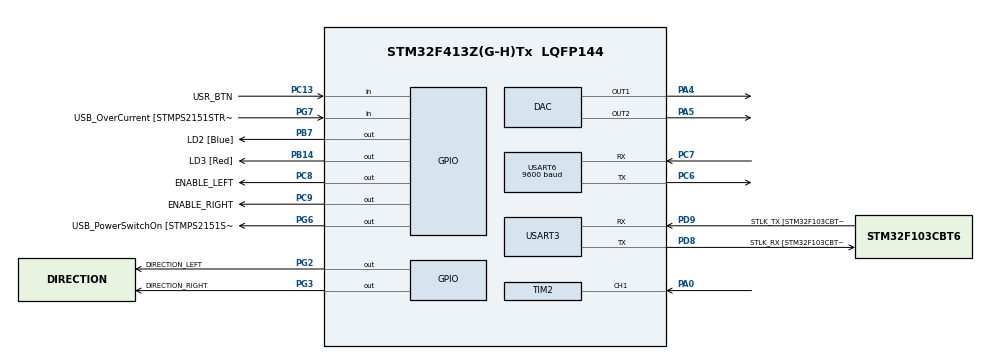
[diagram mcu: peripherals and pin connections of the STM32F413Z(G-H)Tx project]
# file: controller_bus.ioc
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Mcu.Family=STM32F4
Mcu.Name=STM32F413Z(G-H)Tx
Mcu.Package=LQFP144
NVIC.PriorityGroup=NVIC_PRIORITYGROUP_4
NVIC.TIM2_IRQn=true\:0\:0\:false\:false\:true\:true
NVIC.USART6_IRQn=true\:0\:0\:false\:false\:true\:true
PA0.Signal=S_TIM2_CH1_ETR
PA10.GPIO_Label=USB_ID
PA10.Signal=USB_OTG_FS_ID
PA11.GPIO_Label=USB_DM
PA11.Signal=USB_OTG_FS_DM
PA12.GPIO_Label=USB_DP
PA12.Signal=USB_OTG_FS_DP
PA13.GPIO_Label=TMS
PA13.Mode=Serial_Wire
PA13.Signal=SYS_JTMS-SWDIO
PA14.GPIO_Label=TCK
PA14.Mode=Serial_Wire
PA14.Signal=SYS_JTCK-SWCLK
PA4.Signal=COMP_DAC1_group
PA5.Signal=COMP_DAC2_group
PA8.GPIO_Label=USB_SOF [TP1]
PA8.Signal=USB_OTG_FS_SOF
PA9.GPIO_Label=USB_VBUS
PA9.Signal=USB_OTG_FS_VBUS
PB14.GPIO_Label=LD3 [Red]
PB14.Signal=GPIO_Output
PB3.GPIO_Label=SWO
PB3.Signal=SYS_JTDO-SWO
PB7.GPIO_Label=LD2 [Blue]
PB7.Signal=GPIO_Output
PC13.GPIO_Label=USR_BTN
PC13.GPIO_PuPd=GPIO_PULLUP
PC13.Signal=GPIO_Input
PC14-OSC32_IN.Mode=LSE-External-Oscillator
PC14-OSC32_IN.Signal=RCC_OSC32_IN
PC15-OSC32_OUT.Mode=LSE-External-Oscillator
PC15-OSC32_OUT.Signal=RCC_OSC32_OUT
PC6.Mode=Asynchronous
PC6.Signal=USART6_TX
PC7.Mode=Asynchronous
PC7.Signal=USART6_RX
PC8.GPIO_Label=ENABLE_LEFT
PC8.GPIO_PuPd=GPIO_PULLUP
PC8.GPIO_Speed=GPIO_SPEED_FREQ_MEDIUM
PC8.Signal=GPIO_Output
PC9.GPIO_Label=ENABLE_RIGHT
PC9.GPIO_PuPd=GPIO_PULLUP
PC9.GPIO_Speed=GPIO_SPEED_FREQ_MEDIUM
PC9.Signal=GPIO_Output
PD8.GPIO_Label=STLK_RX [STM32F103CBT6_PA3]
PD8.Mode=Asynchronous
PD8.Signal=USART3_TX
PD9.GPIO_Label=STLK_TX [STM32F103CBT6_PA2]
PD9.Mode=Asynchronous
PD9.Signal=USART3_RX
PG2.GPIO_Label=DIRECTION_LEFT
PG2.GPIO_PuPd=GPIO_PULLUP
PG2.GPIO_Speed=GPIO_SPEED_FREQ_MEDIUM
PG2.Signal=GPIO_Output
PG3.GPIO_Label=DIRECTION_RIGHT
PG3.GPIO_PuPd=GPIO_PULLUP
PG3.GPIO_Speed=GPIO_SPEED_FREQ_MEDIUM
PG3.Signal=GPIO_Output
PG6.GPIO_Label=USB_PowerSwitchOn [STMPS2151STR_EN]
PG6.Signal=GPIO_Output
PG7.GPIO_Label=USB_OverCurrent [STMPS2151STR_FAULT]
PG7.Signal=GPIO_Input
PH0\ -\ OSC_IN.GPIO_Label=MCO
PH0\ -\ OSC_IN.Mode=HSE-External-Clock-Source
PH0\ -\ OSC_IN.Signal=RCC_OSC_IN
PH1\ -\ OSC_OUT.Mode=HSE-External-Clock-Source
PH1\ -\ OSC_OUT.Signal=RCC_OSC_OUT
ProjectManager.HeapSize=0x200
ProjectManager.StackSize=0x400
ProjectManager.TargetToolchain=TrueSTUDIO
RCC.48MHZClocksFreq_Value=24000000
RCC.AHBFreq_Value=96000000
RCC.APB1CLKDivider=RCC_HCLK_DIV2
RCC.APB1Freq_Value=48000000
RCC.APB1TimFreq_Value=96000000
RCC.APB2Freq_Value=96000000
RCC.APB2TimFreq_Value=96000000
RCC.CortexFreq_Value=96000000
RCC.HCLKFreq_Value=96000000
RCC.HSE_VALUE=8000000
RCC.HSI_VALUE=16000000
RCC.PLLM=8
RCC.PLLMUL=RCC_PLL_MUL9
RCC.PLLN=384
RCC.PLLP=RCC_PLLP_DIV4
RCC.PLLQ=8
RCC.PLLSourceVirtual=RCC_PLLSOURCE_HSE
RCC.PRESCALERUSB=RCC_USBCLKSOURCE_PLL_DIV1_5
RCC.SYSCLKFreq_VALUE=96000000
RCC.SYSCLKSource=RCC_SYSCLKSOURCE_PLLCLK
RCC.SYSCLKSourceVirtual=RCC_SYSCLKSOURCE_PLLCLK
RCC.USBFreq_Value=48000000
RCC.VCOOutputFreq_Value=384000000
SH.COMP_DAC1_group.0=DAC_OUT1,DAC_OUT1
SH.COMP_DAC2_group.0=DAC_OUT2,DAC_OUT2
SH.S_TIM2_CH1_ETR.0=TIM2_CH1,PWM_Input_1
TIM2.Period=0xffffffff
TIM2.Prescaler=96
USART3.VirtualMode=VM_ASYNC
USART6.BaudRate=9600
USART6.VirtualMode=VM_ASYNC
VP_TIM2_VS_ClockSourceINT.Mode=Internal
board=NUCLEO-F413ZH

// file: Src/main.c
/* USER CODE BEGIN Header */
/**
 ******************************************************************************
 * @file           : main.c
 * @brief          : Main program body
 ******************************************************************************
 ** This notice applies to any and all portions of this file
 * that are not between comment pairs USER CODE BEGIN and
 * USER CODE END. Other portions of this file, whether
 * inserted by the user or by software development tools
 * are owned by their respective copyright owners.
 *
 * COPYRIGHT(c) 2018 STMicroelectronics
 *
 * Redistribution and use in source and binary forms, with or without modification,
 * are permitted provided that the following conditions are met:
 *   1. Redistributions of source code must retain the above copyright notice,
 *      this list of conditions and the following disclaimer.
 *   2. Redistributions in binary form must reproduce the above copyright notice,
 *      this list of conditions and the following disclaimer in the documentation
 *      and/or other materials provided with the distribution.
 *   3. Neither the name of STMicroelectronics nor the names of its contributors
 *      may be used to endorse or promote products derived from this software
 *      without specific prior written permission.
 *
 * THIS SOFTWARE IS PROVIDED BY THE COPYRIGHT HOLDERS AND CONTRIBUTORS "AS IS"
 * AND ANY EXPRESS OR IMPLIED WARRANTIES, INCLUDING, BUT NOT LIMITED TO, THE
 * IMPLIED WARRANTIES OF MERCHANTABILITY AND FITNESS FOR A PARTICULAR PURPOSE ARE
 * DISCLAIMED. IN NO EVENT SHALL THE COPYRIGHT HOLDER OR CONTRIBUTORS BE LIABLE
 * FOR ANY DIRECT, INDIRECT, INCIDENTAL, SPECIAL, EXEMPLARY, OR CONSEQUENTIAL
 * DAMAGES (INCLUDING, BUT NOT LIMITED TO, PROCUREMENT OF SUBSTITUTE GOODS OR
 * SERVICES; LOSS OF USE, DATA, OR PROFITS; OR BUSINESS INTERRUPTION) HOWEVER
 * CAUSED AND ON ANY THEORY OF LIABILITY, WHETHER IN CONTRACT, STRICT LIABILITY,
 * OR TORT (INCLUDING NEGLIGENCE OR OTHERWISE) ARISING IN ANY WAY OUT OF THE USE
 * OF THIS SOFTWARE, EVEN IF ADVISED OF THE POSSIBILITY OF SUCH DAMAGE.
 *
 ******************************************************************************
 */
/* USER CODE END Header */

#include "main.h"

/* USER CODE BEGIN Includes */
#include <stdio.h>
#include <string.h>
#include <stdlib.h>
/* USER CODE END Includes */

void SystemClock_Config(void);
static void MX_GPIO_Init(void);
static void MX_USART3_UART_Init(void);
static void MX_DAC_Init(void);
static void MX_USART6_UART_Init(void);
static void MX_TIM2_Init(void);

/* USER CODE BEGIN 0 */
void messageHandler(char* buffer)
{
	printf("BUFFER: %s\n", buffer);
	if (buffer[0] == 'F')
	{
		if (buffer[1] == 'L')
		{
			printf("Received message: %s\n", buffer);
			char *fr_position = strstr(buffer, "FR");
			if (fr_position)
			{
				char right[10] = { 0 };
				strncpy(right, fr_position + 2, strlen(buffer) - 1);
				uint16_t right_speed = atoi(right);
				char left[10] = { 0 };
				strncpy(left, buffer + 2, strlen(buffer) - strlen(fr_position));
				uint16_t left_speed = atoi(left);
				if (left_speed > 500 && right_speed > 500)
				{
					LL_GPIO_SetOutputPin(DIRECTION_LEFT_GPIO_Port,
					DIRECTION_LEFT_Pin);
					LL_GPIO_ResetOutputPin(DIRECTION_RIGHT_GPIO_Port,
					DIRECTION_RIGHT_Pin);

					LL_GPIO_SetOutputPin(ENABLE_LEFT_GPIO_Port,
					ENABLE_LEFT_Pin);
					LL_GPIO_SetOutputPin(ENABLE_RIGHT_GPIO_Port,
					ENABLE_RIGHT_Pin);

					LL_DAC_ConvertDualData12RightAligned(DAC, LL_DAC_CHANNEL_1,
							4095 - right_speed);
					LL_DAC_ConvertDualData12RightAligned(DAC, LL_DAC_CHANNEL_2,
							left_speed);
				}
				else
				{
					LL_GPIO_ResetOutputPin(ENABLE_LEFT_GPIO_Port,
					ENABLE_LEFT_Pin);
					LL_GPIO_ResetOutputPin(ENABLE_RIGHT_GPIO_Port,
					ENABLE_RIGHT_Pin);
				}
			}
		}
	}
	else if (buffer[0] == 'R')
	{
		if (buffer[1] == 'L')
		{
			char *fr_position = strstr(buffer, "RR");
			if (fr_position)
			{
				char right[10] = { 0 };
				strncpy(right, fr_position + 2, strlen(buffer) - 1);
				uint16_t right_speed = atoi(right);
				char left[10] = { 0 };
				strncpy(left, buffer + 2, strlen(buffer) - strlen(fr_position));
				uint16_t left_speed = atoi(left);
				if (left_speed > 500 && right_speed > 500)
				{
					LL_GPIO_ResetOutputPin(DIRECTION_LEFT_GPIO_Port,
					DIRECTION_LEFT_Pin);
					LL_GPIO_SetOutputPin(DIRECTION_RIGHT_GPIO_Port,
					DIRECTION_RIGHT_Pin);

					LL_GPIO_SetOutputPin(ENABLE_LEFT_GPIO_Port,
					ENABLE_LEFT_Pin);
					LL_GPIO_SetOutputPin(ENABLE_RIGHT_GPIO_Port,
					ENABLE_RIGHT_Pin);

					LL_DAC_ConvertDualData12RightAligned(DAC, LL_DAC_CHANNEL_1,
							4095 - right_speed);
					LL_DAC_ConvertDualData12RightAligned(DAC, LL_DAC_CHANNEL_2,
							left_speed);
				}
				else
				{
					LL_GPIO_ResetOutputPin(ENABLE_LEFT_GPIO_Port,
					ENABLE_LEFT_Pin);
					LL_GPIO_ResetOutputPin(ENABLE_RIGHT_GPIO_Port,
					ENABLE_RIGHT_Pin);
				}
			}
		}
	}

}
/* USER CODE END 0 */

int main(void)
{

	/* MCU Configuration--------------------------------------------------------*/

	/* Reset of all peripherals, Initializes the Flash interface and the Systick. */

	LL_APB2_GRP1_EnableClock(LL_APB2_GRP1_PERIPH_SYSCFG);
	LL_APB1_GRP1_EnableClock(LL_APB1_GRP1_PERIPH_PWR);

	NVIC_SetPriorityGrouping(NVIC_PRIORITYGROUP_4);

	/* System interrupt init*/

	/* Configure the system clock */
	SystemClock_Config();

	/* Initialize all configured peripherals */
	MX_GPIO_Init();
	MX_USART3_UART_Init();
	MX_DAC_Init();
	MX_USART6_UART_Init();
	MX_TIM2_Init();
	/* USER CODE BEGIN 2 */
	LL_USART_EnableIT_RXNE(USART6);
	LL_DAC_Enable(DAC, LL_DAC_CHANNEL_1);
	LL_DAC_Enable(DAC, LL_DAC_CHANNEL_2);

	LL_DAC_ConvertDualData12RightAligned(DAC, LL_DAC_CHANNEL_1, 4095);
	LL_DAC_ConvertDualData12RightAligned(DAC, LL_DAC_CHANNEL_2, 0);
	printf("Idem u while");
	/* USER CODE END 2 */

	/* Infinite loop */
	while (1)
	{

	}
}

void SystemClock_Config(void)
{
	LL_FLASH_SetLatency(LL_FLASH_LATENCY_3);

	if (LL_FLASH_GetLatency() != LL_FLASH_LATENCY_3)
	{
		Error_Handler();
	}
	LL_PWR_SetRegulVoltageScaling(LL_PWR_REGU_VOLTAGE_SCALE1);
	LL_RCC_HSE_EnableBypass();
	LL_RCC_HSE_Enable();

	/* Wait till HSE is ready */
	while (LL_RCC_HSE_IsReady() != 1)
	{

	}
	LL_RCC_PLL_ConfigDomain_SYS(LL_RCC_PLLSOURCE_HSE, LL_RCC_PLLM_DIV_8, 384,
			LL_RCC_PLLP_DIV_4);
	LL_RCC_PLL_Enable();

	/* Wait till PLL is ready */
	while (LL_RCC_PLL_IsReady() != 1)
	{

	}
	LL_RCC_SetAHBPrescaler(LL_RCC_SYSCLK_DIV_1);
	LL_RCC_SetAPB1Prescaler(LL_RCC_APB1_DIV_2);
	LL_RCC_SetAPB2Prescaler(LL_RCC_APB2_DIV_1);
	LL_RCC_SetSysClkSource(LL_RCC_SYS_CLKSOURCE_PLL);

	/* Wait till System clock is ready */
	while (LL_RCC_GetSysClkSource() != LL_RCC_SYS_CLKSOURCE_STATUS_PLL)
	{

	}
	LL_Init1msTick(96000000);
	LL_SYSTICK_SetClkSource(LL_SYSTICK_CLKSOURCE_HCLK);
	LL_SetSystemCoreClock(96000000);
	LL_RCC_SetTIMPrescaler(LL_RCC_TIM_PRESCALER_TWICE);
}

static void MX_DAC_Init(void)
{

	LL_DAC_InitTypeDef DAC_InitStruct = { 0 };

	LL_GPIO_InitTypeDef GPIO_InitStruct = { 0 };

	/* Peripheral clock enable */
	LL_APB1_GRP1_EnableClock(LL_APB1_GRP1_PERIPH_DAC1);

	LL_AHB1_GRP1_EnableClock(LL_AHB1_GRP1_PERIPH_GPIOA);
	/**DAC GPIO Configuration
	 PA4   ------> DAC_OUT1
	 PA5   ------> DAC_OUT2
	 */
	GPIO_InitStruct.Pin = LL_GPIO_PIN_4 | LL_GPIO_PIN_5;
	GPIO_InitStruct.Mode = LL_GPIO_MODE_ANALOG;
	GPIO_InitStruct.Pull = LL_GPIO_PULL_NO;
	LL_GPIO_Init(GPIOA, &GPIO_InitStruct);

	/**DAC channel OUT1 config
	 */
	DAC_InitStruct.TriggerSource = LL_DAC_TRIG_SOFTWARE;
	DAC_InitStruct.WaveAutoGeneration = LL_DAC_WAVE_AUTO_GENERATION_NONE;
	DAC_InitStruct.OutputBuffer = LL_DAC_OUTPUT_BUFFER_ENABLE;
	LL_DAC_Init(DAC, LL_DAC_CHANNEL_1, &DAC_InitStruct);
	/**DAC channel OUT2 config
	 */
	LL_DAC_Init(DAC, LL_DAC_CHANNEL_2, &DAC_InitStruct);

}

static void MX_TIM2_Init(void)
{

	LL_TIM_InitTypeDef TIM_InitStruct = { 0 };

	LL_GPIO_InitTypeDef GPIO_InitStruct = { 0 };

	/* Peripheral clock enable */
	LL_APB1_GRP1_EnableClock(LL_APB1_GRP1_PERIPH_TIM2);

	LL_AHB1_GRP1_EnableClock(LL_AHB1_GRP1_PERIPH_GPIOA);
	/**TIM2 GPIO Configuration
	 PA0   ------> TIM2_CH1
	 */
	GPIO_InitStruct.Pin = LL_GPIO_PIN_0;
	GPIO_InitStruct.Mode = LL_GPIO_MODE_ALTERNATE;
	GPIO_InitStruct.Speed = LL_GPIO_SPEED_FREQ_LOW;
	GPIO_InitStruct.OutputType = LL_GPIO_OUTPUT_PUSHPULL;
	GPIO_InitStruct.Pull = LL_GPIO_PULL_NO;
	GPIO_InitStruct.Alternate = LL_GPIO_AF_1;
	LL_GPIO_Init(GPIOA, &GPIO_InitStruct);

	/* TIM2 interrupt Init */
	NVIC_SetPriority(TIM2_IRQn,
			NVIC_EncodePriority(NVIC_GetPriorityGrouping(), 0, 0));
	NVIC_EnableIRQ(TIM2_IRQn);

	TIM_InitStruct.Prescaler = 96;
	TIM_InitStruct.CounterMode = LL_TIM_COUNTERMODE_UP;
	TIM_InitStruct.Autoreload = 0xffffffff;
	TIM_InitStruct.ClockDivision = LL_TIM_CLOCKDIVISION_DIV1;
	LL_TIM_Init(TIM2, &TIM_InitStruct);
	LL_TIM_SetClockSource(TIM2, LL_TIM_CLOCKSOURCE_INTERNAL);
	LL_TIM_SetTriggerInput(TIM2, LL_TIM_TS_TI1FP1);
	LL_TIM_SetSlaveMode(TIM2, LL_TIM_SLAVEMODE_RESET);
	LL_TIM_CC_DisableChannel(TIM2, LL_TIM_CHANNEL_CH1);
	LL_TIM_IC_SetFilter(TIM2, LL_TIM_CHANNEL_CH1, LL_TIM_IC_FILTER_FDIV1);
	LL_TIM_IC_SetPolarity(TIM2, LL_TIM_CHANNEL_CH1, LL_TIM_IC_POLARITY_RISING);
	LL_TIM_DisableIT_TRIG(TIM2);
	LL_TIM_DisableDMAReq_TRIG(TIM2);
	LL_TIM_IC_SetActiveInput(TIM2, LL_TIM_CHANNEL_CH1,
			LL_TIM_ACTIVEINPUT_DIRECTTI);
	LL_TIM_IC_SetPrescaler(TIM2, LL_TIM_CHANNEL_CH1, LL_TIM_ICPSC_DIV1);
	LL_TIM_IC_SetActiveInput(TIM2, LL_TIM_CHANNEL_CH2,
			LL_TIM_ACTIVEINPUT_INDIRECTTI);
	LL_TIM_IC_SetPrescaler(TIM2, LL_TIM_CHANNEL_CH2, LL_TIM_ICPSC_DIV1);
	LL_TIM_IC_SetFilter(TIM2, LL_TIM_CHANNEL_CH2, LL_TIM_IC_FILTER_FDIV1);
	LL_TIM_IC_SetPolarity(TIM2, LL_TIM_CHANNEL_CH2, LL_TIM_IC_POLARITY_FALLING);
	LL_TIM_SetTriggerOutput(TIM2, LL_TIM_TRGO_RESET);
	LL_TIM_DisableMasterSlaveMode(TIM2);

}

static void MX_USART3_UART_Init(void)
{

	LL_USART_InitTypeDef USART_InitStruct = { 0 };

	LL_GPIO_InitTypeDef GPIO_InitStruct = { 0 };

	/* Peripheral clock enable */
	LL_APB1_GRP1_EnableClock(LL_APB1_GRP1_PERIPH_USART3);

	LL_AHB1_GRP1_EnableClock(LL_AHB1_GRP1_PERIPH_GPIOD);
	/**USART3 GPIO Configuration
	 PD8   ------> USART3_TX
	 PD9   ------> USART3_RX
	 */
	GPIO_InitStruct.Pin = STLK_RX_Pin | STLK_TX_Pin;
	GPIO_InitStruct.Mode = LL_GPIO_MODE_ALTERNATE;
	GPIO_InitStruct.Speed = LL_GPIO_SPEED_FREQ_VERY_HIGH;
	GPIO_InitStruct.OutputType = LL_GPIO_OUTPUT_PUSHPULL;
	GPIO_InitStruct.Pull = LL_GPIO_PULL_UP;
	GPIO_InitStruct.Alternate = LL_GPIO_AF_7;
	LL_GPIO_Init(GPIOD, &GPIO_InitStruct);

	USART_InitStruct.BaudRate = 115200;
	USART_InitStruct.DataWidth = LL_USART_DATAWIDTH_8B;
	USART_InitStruct.StopBits = LL_USART_STOPBITS_1;
	USART_InitStruct.Parity = LL_USART_PARITY_NONE;
	USART_InitStruct.TransferDirection = LL_USART_DIRECTION_TX_RX;
	USART_InitStruct.HardwareFlowControl = LL_USART_HWCONTROL_NONE;
	USART_InitStruct.OverSampling = LL_USART_OVERSAMPLING_16;
	LL_USART_Init(USART3, &USART_InitStruct);
	LL_USART_ConfigAsyncMode(USART3);
	LL_USART_Enable(USART3);

}

static void MX_USART6_UART_Init(void)
{

	LL_USART_InitTypeDef USART_InitStruct = { 0 };

	LL_GPIO_InitTypeDef GPIO_InitStruct = { 0 };

	/* Peripheral clock enable */
	LL_APB2_GRP1_EnableClock(LL_APB2_GRP1_PERIPH_USART6);

	LL_AHB1_GRP1_EnableClock(LL_AHB1_GRP1_PERIPH_GPIOC);
	/**USART6 GPIO Configuration
	 PC6   ------> USART6_TX
	 PC7   ------> USART6_RX
	 */
	GPIO_InitStruct.Pin = LL_GPIO_PIN_6 | LL_GPIO_PIN_7;
	GPIO_InitStruct.Mode = LL_GPIO_MODE_ALTERNATE;
	GPIO_InitStruct.Speed = LL_GPIO_SPEED_FREQ_VERY_HIGH;
	GPIO_InitStruct.OutputType = LL_GPIO_OUTPUT_PUSHPULL;
	GPIO_InitStruct.Pull = LL_GPIO_PULL_UP;
	GPIO_InitStruct.Alternate = LL_GPIO_AF_8;
	LL_GPIO_Init(GPIOC, &GPIO_InitStruct);

	/* USART6 interrupt Init */
	NVIC_SetPriority(USART6_IRQn,
			NVIC_EncodePriority(NVIC_GetPriorityGrouping(), 0, 0));
	NVIC_EnableIRQ(USART6_IRQn);

	USART_InitStruct.BaudRate = 115200;
	USART_InitStruct.DataWidth = LL_USART_DATAWIDTH_8B;
	USART_InitStruct.StopBits = LL_USART_STOPBITS_1;
	USART_InitStruct.Parity = LL_USART_PARITY_NONE;
	USART_InitStruct.TransferDirection = LL_USART_DIRECTION_TX_RX;
	USART_InitStruct.HardwareFlowControl = LL_USART_HWCONTROL_NONE;
	USART_InitStruct.OverSampling = LL_USART_OVERSAMPLING_16;
	LL_USART_Init(USART6, &USART_InitStruct);
	LL_USART_ConfigAsyncMode(USART6);
	LL_USART_Enable(USART6);

}

static void MX_GPIO_Init(void)
{
	LL_GPIO_InitTypeDef GPIO_InitStruct = { 0 };

	/* GPIO Ports Clock Enable */
	LL_AHB1_GRP1_EnableClock(LL_AHB1_GRP1_PERIPH_GPIOC);
	LL_AHB1_GRP1_EnableClock(LL_AHB1_GRP1_PERIPH_GPIOH);
	LL_AHB1_GRP1_EnableClock(LL_AHB1_GRP1_PERIPH_GPIOA);
	LL_AHB1_GRP1_EnableClock(LL_AHB1_GRP1_PERIPH_GPIOB);
	LL_AHB1_GRP1_EnableClock(LL_AHB1_GRP1_PERIPH_GPIOD);
	LL_AHB1_GRP1_EnableClock(LL_AHB1_GRP1_PERIPH_GPIOG);

	/**/
	LL_GPIO_ResetOutputPin(GPIOB, LD3_Pin | LD2_Pin);

	/**/
	LL_GPIO_ResetOutputPin(GPIOG,
			DIRECTION_LEFT_Pin | DIRECTION_RIGHT_Pin | USB_PowerSwitchOn_Pin);

	/**/
	LL_GPIO_ResetOutputPin(GPIOC, ENABLE_LEFT_Pin | ENABLE_RIGHT_Pin);

	/**/
	GPIO_InitStruct.Pin = USR_BTN_Pin;
	GPIO_InitStruct.Mode = LL_GPIO_MODE_INPUT;
	GPIO_InitStruct.Pull = LL_GPIO_PULL_UP;
	LL_GPIO_Init(USR_BTN_GPIO_Port, &GPIO_InitStruct);

	/**/
	GPIO_InitStruct.Pin = LD3_Pin | LD2_Pin;
	GPIO_InitStruct.Mode = LL_GPIO_MODE_OUTPUT;
	GPIO_InitStruct.Speed = LL_GPIO_SPEED_FREQ_LOW;
	GPIO_InitStruct.OutputType = LL_GPIO_OUTPUT_PUSHPULL;
	GPIO_InitStruct.Pull = LL_GPIO_PULL_NO;
	LL_GPIO_Init(GPIOB, &GPIO_InitStruct);

	/**/
	GPIO_InitStruct.Pin = DIRECTION_LEFT_Pin | DIRECTION_RIGHT_Pin;
	GPIO_InitStruct.Mode = LL_GPIO_MODE_OUTPUT;
	GPIO_InitStruct.Speed = LL_GPIO_SPEED_FREQ_MEDIUM;
	GPIO_InitStruct.OutputType = LL_GPIO_OUTPUT_PUSHPULL;
	GPIO_InitStruct.Pull = LL_GPIO_PULL_UP;
	LL_GPIO_Init(GPIOG, &GPIO_InitStruct);

	/**/
	GPIO_InitStruct.Pin = USB_PowerSwitchOn_Pin;
	GPIO_InitStruct.Mode = LL_GPIO_MODE_OUTPUT;
	GPIO_InitStruct.Speed = LL_GPIO_SPEED_FREQ_LOW;
	GPIO_InitStruct.OutputType = LL_GPIO_OUTPUT_PUSHPULL;
	GPIO_InitStruct.Pull = LL_GPIO_PULL_NO;
	LL_GPIO_Init(USB_PowerSwitchOn_GPIO_Port, &GPIO_InitStruct);

	/**/
	GPIO_InitStruct.Pin = USB_OverCurrent_Pin;
	GPIO_InitStruct.Mode = LL_GPIO_MODE_INPUT;
	GPIO_InitStruct.Pull = LL_GPIO_PULL_NO;
	LL_GPIO_Init(USB_OverCurrent_GPIO_Port, &GPIO_InitStruct);

	/**/
	GPIO_InitStruct.Pin = ENABLE_LEFT_Pin | ENABLE_RIGHT_Pin;
	GPIO_InitStruct.Mode = LL_GPIO_MODE_OUTPUT;
	GPIO_InitStruct.Speed = LL_GPIO_SPEED_FREQ_MEDIUM;
	GPIO_InitStruct.OutputType = LL_GPIO_OUTPUT_PUSHPULL;
	GPIO_InitStruct.Pull = LL_GPIO_PULL_UP;
	LL_GPIO_Init(GPIOC, &GPIO_InitStruct);

	/**/
	GPIO_InitStruct.Pin = USB_SOF_Pin | USB_ID_Pin | USB_DM_Pin | USB_DP_Pin;
	GPIO_InitStruct.Mode = LL_GPIO_MODE_ALTERNATE;
	GPIO_InitStruct.Speed = LL_GPIO_SPEED_FREQ_VERY_HIGH;
	GPIO_InitStruct.OutputType = LL_GPIO_OUTPUT_PUSHPULL;
	GPIO_InitStruct.Pull = LL_GPIO_PULL_NO;
	GPIO_InitStruct.Alternate = LL_GPIO_AF_10;
	LL_GPIO_Init(GPIOA, &GPIO_InitStruct);

}

void Error_Handler(void)
{
}

/************************ (C) COPYRIGHT STMicroelectronics *****END OF FILE****/
